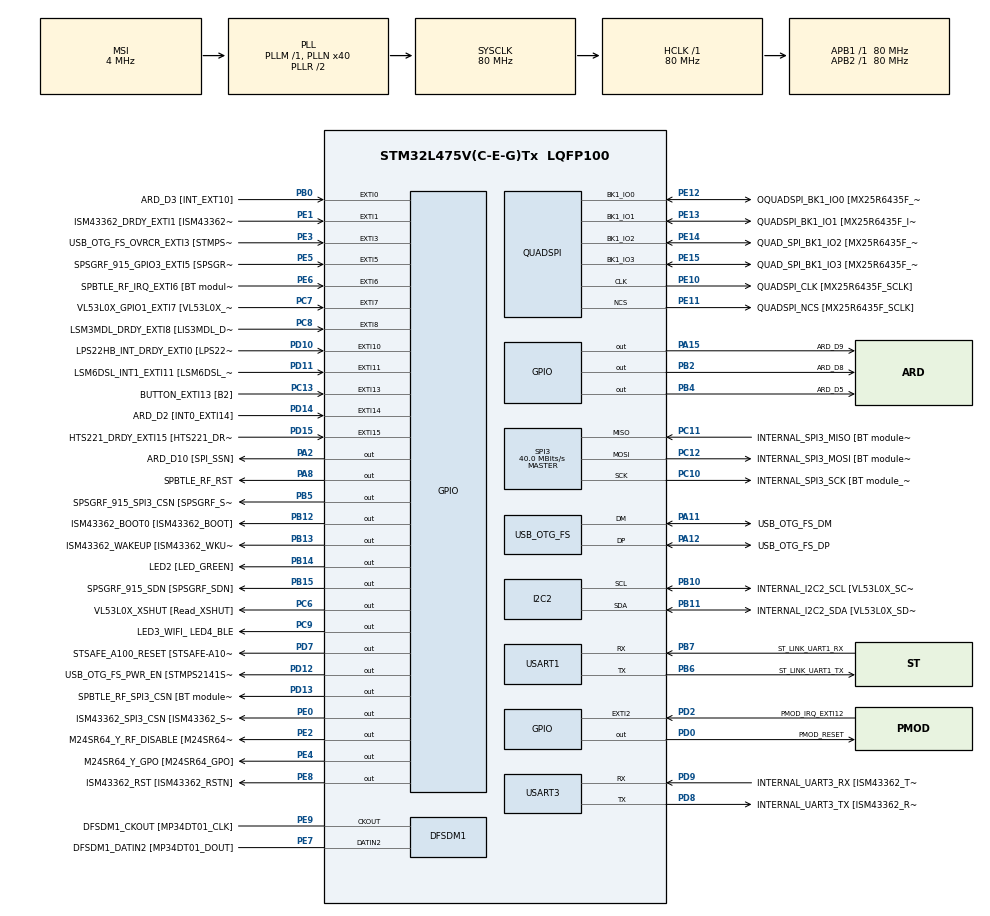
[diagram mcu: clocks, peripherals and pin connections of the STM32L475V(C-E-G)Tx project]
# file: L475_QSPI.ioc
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Mcu.Family=STM32L4
Mcu.Name=STM32L475V(C-E-G)Tx
Mcu.Package=LQFP100
NVIC.EXTI15_10_IRQn=true\:0\:0\:false\:false\:true\:true
NVIC.EXTI9_5_IRQn=true\:0\:0\:false\:false\:true\:true
NVIC.PriorityGroup=NVIC_PRIORITYGROUP_4
PA0.GPIO_Label=ARD_D1 [UART4_TX]
PA0.Signal=UART4_TX
PA1.GPIO_Label=ARD_D0 [UART4_RX]
PA1.Signal=UART4_RX
PA10.GPIO_Label=USB_OTG_FS_ID
PA10.Signal=USB_OTG_FS_ID
PA11.GPIO_Label=USB_OTG_FS_DM
PA11.Mode=Device_Only
PA11.Signal=USB_OTG_FS_DM
PA12.GPIO_Label=USB_OTG_FS_DP
PA12.Mode=Device_Only
PA12.Signal=USB_OTG_FS_DP
PA13\ (JTMS-SWDIO).GPIO_Label=SYS_JTMS_SWDIO
PA13\ (JTMS-SWDIO).Mode=Serial_Wire
PA13\ (JTMS-SWDIO).Signal=SYS_JTMS-SWDIO
PA14\ (JTCK-SWCLK).GPIO_Label=SYS_JTCK_SWCLK
PA14\ (JTCK-SWCLK).Mode=Serial_Wire
PA14\ (JTCK-SWCLK).Signal=SYS_JTCK-SWCLK
PA15\ (JTDI).GPIO_Label=ARD_D9
PA15\ (JTDI).Signal=GPIO_Output
PA2.GPIO_Label=ARD_D10 [SPI_SSN]
PA2.Signal=GPIO_Output
PA3.GPIO_Label=ARD_D4
PA3.Signal=S_TIM2_CH4
PA4.GPIO_Label=ARD_D7
PA4.Signal=ADCx_IN9
PA5.GPIO_Label=ARD_D13 [SPI1_SCK]
PA5.Signal=SPI1_SCK
PA6.GPIO_Label=ARD_D12 [SPI1_MISO]
PA6.Signal=SPI1_MISO
PA7.GPIO_Label=ARD_D11 [SPI1_MOSI]
PA7.Signal=SPI1_MOSI
PA8.GPIO_Label=SPBTLE_RF_RST
PA8.Signal=GPIO_Output
PA9.GPIO_Label=USB_OTG_FS_VBUS [STMPS2141STR_OUT]
PA9.Signal=USB_OTG_FS_VBUS
PB0.GPIO_Label=ARD_D3 [INT_EXT10]
PB0.Signal=GPXTI0
PB1.GPIO_Label=ARD_D6 [ADC1_IN6]
PB1.Signal=ADCx_IN16
PB10.GPIO_Label=INTERNAL_I2C2_SCL [VL53L0X_SCL]
PB10.Mode=I2C
PB10.Signal=I2C2_SCL
PB11.GPIO_Label=INTERNAL_I2C2_SDA [VL53L0X_SDA]
PB11.Mode=I2C
PB11.Signal=I2C2_SDA
PB12.GPIO_Label=ISM43362_BOOT0 [ISM43362_BOOT]
PB12.Signal=GPIO_Output
PB13.GPIO_Label=ISM43362_WAKEUP [ISM43362_WKUP]
PB13.Signal=GPIO_Output
PB14.GPIO_Label=LED2 [LED_GREEN]
PB14.Signal=GPIO_Output
PB15.GPIO_Label=SPSGRF_915_SDN [SPSGRF_SDN]
PB15.Signal=GPIO_Output
PB2.GPIO_Label=ARD_D8
PB2.Signal=GPIO_Output
PB3\ (JTDO-TRACESWO).GPIO_Label=SYS_JTD0_SWO
PB3\ (JTDO-TRACESWO).Signal=SYS_JTDO-SWO
PB4\ (NJTRST).GPIO_Label=ARD_D5
PB4\ (NJTRST).Signal=GPIO_Output
PB5.GPIO_Label=SPSGRF_915_SPI3_CSN [SPSGRF_SPI_CS]
PB5.Signal=GPIO_Output
PB6.GPIO_Label=ST_LINK_UART1_TX
PB6.Mode=Asynchronous
PB6.Signal=USART1_TX
PB7.GPIO_Label=ST_LINK_UART1_RX
PB7.Mode=Asynchronous
PB7.Signal=USART1_RX
PB8.GPIO_Label=ARD_D15 [I2C1_SCL]
PB8.Signal=I2C1_SCL
PB9.GPIO_Label=ARD_D14 [I2C1_SDA]
PB9.Signal=I2C1_SDA
PC0.GPIO_Label=ARD_A5 [ADC]
PC0.Signal=ADCx_IN1
PC1.GPIO_Label=ARD_A4 [ADC]
PC1.Signal=ADCx_IN2
PC10.GPIO_Label=INTERNAL_SPI3_SCK [BT module_SPI_SCLK]
PC10.Mode=Full_Duplex_Master
PC10.Signal=SPI3_SCK
PC11.GPIO_Label=INTERNAL_SPI3_MISO [BT module_SPI_MISO]
PC11.Mode=Full_Duplex_Master
PC11.Signal=SPI3_MISO
PC12.GPIO_Label=INTERNAL_SPI3_MOSI [BT module_SPI_MOSI]
PC12.Mode=Full_Duplex_Master
PC12.Signal=SPI3_MOSI
PC13.GPIO_Label=BUTTON_EXTI13 [B2]
PC13.GPIO_ModeDefaultEXTI=GPIO_MODE_IT_FALLING
PC13.Signal=GPXTI13
PC14-OSC32_IN\ (PC14).Mode=LSE-External-Oscillator
PC14-OSC32_IN\ (PC14).Signal=RCC_OSC32_IN
PC15-OSC32_OUT\ (PC15).Mode=LSE-External-Oscillator
PC15-OSC32_OUT\ (PC15).Signal=RCC_OSC32_OUT
PC2.GPIO_Label=ARD_A3 [ADC]
PC2.Signal=ADCx_IN3
PC3.GPIO_Label=ARD_A2 [ADC]
PC3.Signal=ADCx_IN4
PC4.GPIO_Label=ARD_A1 [ADC]
PC4.Signal=ADCx_IN13
PC5.GPIO_Label=ARD_A0 [ADC]
PC5.Signal=ADCx_IN14
PC6.GPIO_Label=VL53L0X_XSHUT [Read_XSHUT]
PC6.Signal=GPIO_Output
PC7.GPIO_Label=VL53L0X_GPIO1_EXTI7 [VL53L0X_GPIO1]
PC7.Signal=GPXTI7
PC8.GPIO_Label=LSM3MDL_DRDY_EXTI8 [LIS3MDL_DRDY]
PC8.Signal=GPXTI8
PC9.GPIO_Label=LED3_WIFI_ LED4_BLE
PC9.Signal=GPIO_Output
PD0.GPIO_Label=PMOD_RESET
PD0.Signal=GPIO_Output
PD1.GPIO_Label=PMOD_SPI2_SCK
PD1.Signal=SPI2_SCK
PD10.GPIO_Label=LPS22HB_INT_DRDY_EXTI0 [LPS22HB_INT_DRDY] 
PD10.Signal=GPXTI10
PD11.GPIO_Label=LSM6DSL_INT1_EXTI11 [LSM6DSL_INT1]
PD11.Signal=GPXTI11
PD12.GPIO_Label=USB_OTG_FS_PWR_EN [STMPS2141STR_EN]
PD12.Signal=GPIO_Output
PD13.GPIO_Label=SPBTLE_RF_SPI3_CSN [BT module_SPI_CS]
PD13.Signal=GPIO_Output
PD14.GPIO_Label=ARD_D2 [INT0_EXTI14]
PD14.Signal=GPXTI14
PD15.GPIO_Label=HTS221_DRDY_EXTI15 [HTS221_DRDY]
PD15.Signal=GPXTI15
PD2.GPIO_Label=PMOD_IRQ_EXTI12
PD2.Signal=GPXTI2
PD3.GPIO_Label=PMOD_UART2_CTS
PD3.Signal=USART2_CTS
PD4.GPIO_Label=PMOD_UART2_RTS
PD4.Signal=USART2_RTS
PD5.GPIO_Label=PMOD_UART2_TX
PD5.Signal=USART2_TX
PD6.GPIO_Label=PMOD_UART2_RX
PD6.Signal=USART2_RX
PD7.GPIO_Label=STSAFE_A100_RESET [STSAFE-A100_RESET]
PD7.Signal=GPIO_Output
PD8.GPIO_Label=INTERNAL_UART3_TX [ISM43362_RX]
PD8.Mode=Asynchronous
PD8.Signal=USART3_TX
PD9.GPIO_Label=INTERNAL_UART3_RX [ISM43362_TX]
PD9.Mode=Asynchronous
PD9.Signal=USART3_RX
PE0.GPIO_Label=ISM43362_SPI3_CSN [ISM43362_SSN]
PE0.Signal=GPIO_Output
PE1.GPIO_Label=ISM43362_DRDY_EXTI1 [ISM43362_DATARDY]
PE1.Signal=GPXTI1
PE10.GPIO_Label=QUADSPI_CLK [MX25R6435F_SCLK]
PE10.Mode=Single Bank
PE10.Signal=QUADSPI_CLK
PE11.GPIO_Label=QUADSPI_NCS [MX25R6435F_SCLK]
PE11.Mode=Single Bank
PE11.Signal=QUADSPI_NCS
PE12.GPIO_Label=OQUADSPI_BK1_IO0 [MX25R6435F_IO0]
PE12.Mode=Single Bank
PE12.Signal=QUADSPI_BK1_IO0
PE13.GPIO_Label=QUADSPI_BK1_IO1 [MX25R6435F_IO1]
PE13.Mode=Single Bank
PE13.Signal=QUADSPI_BK1_IO1
PE14.GPIO_Label=QUAD_SPI_BK1_IO2 [MX25R6435F_IO2]
PE14.Mode=Single Bank
PE14.Signal=QUADSPI_BK1_IO2
PE15.GPIO_Label=QUAD_SPI_BK1_IO3 [MX25R6435F_IO3]
PE15.Mode=Single Bank
PE15.Signal=QUADSPI_BK1_IO3
PE2.GPIO_Label=M24SR64_Y_RF_DISABLE [M24SR64_RFDIS]
PE2.Signal=GPIO_Output
PE3.GPIO_Label=USB_OTG_FS_OVRCR_EXTI3 [STMPS2141STR_FAULT]
PE3.Signal=GPXTI3
PE4.GPIO_Label=M24SR64_Y_GPO [M24SR64_GPO]
PE4.Signal=GPIO_Output
PE5.GPIO_Label=SPSGRF_915_GPIO3_EXTI5 [SPSGRF_GPIO_3]
PE5.Signal=GPXTI5
PE6.GPIO_Label=SPBTLE_RF_IRQ_EXTI6 [BT module_SPI_IRQ]
PE6.Signal=GPXTI6
PE7.GPIO_Label=DFSDM1_DATIN2 [MP34DT01_DOUT]
PE7.Signal=S_DATAIN2DFSDM1
PE8.GPIO_Label=ISM43362_RST [ISM43362_RSTN]
PE8.Signal=GPIO_Output
PE9.GPIO_Label=DFSDM1_CKOUT [MP34DT01_CLK]
PE9.Signal=S_CKOUTDFSDM1
ProjectManager.HeapSize=0x200
ProjectManager.StackSize=0x400
ProjectManager.TargetToolchain=SW4STM32
RCC.ADCFreq_Value=48000000
RCC.AHBFreq_Value=80000000
RCC.APB1Freq_Value=80000000
RCC.APB1TimFreq_Value=80000000
RCC.APB2Freq_Value=80000000
RCC.APB2TimFreq_Value=80000000
RCC.CortexFreq_Value=80000000
RCC.HCLKFreq_Value=80000000
RCC.HSE_VALUE=8000000
RCC.HSI_VALUE=16000000
RCC.MSI_VALUE=4000000
RCC.PLLN=40
RCC.PLLSAI1N=24
RCC.SYSCLKFreq_VALUE=80000000
RCC.SYSCLKSource=RCC_SYSCLKSOURCE_PLLCLK
RCC.USBFreq_Value=48000000
RCC.VCOOutputFreq_Value=160000000
SH.ADCx_IN1.0=ADC1_IN1
SH.ADCx_IN13.0=ADC1_IN13
SH.ADCx_IN14.0=ADC1_IN14
SH.ADCx_IN16.0=ADC1_IN16
SH.ADCx_IN2.0=ADC1_IN2
SH.ADCx_IN3.0=ADC1_IN3
SH.ADCx_IN4.0=ADC1_IN4
SH.ADCx_IN9.0=ADC1_IN9
SH.S_CKOUTDFSDM1.0=DFSDM1_CKOUT,CKOUT
SH.S_CKOUTDFSDM1.1=DFSDM1_CKOUT,PDM_SPI_Input_from_ch12_and_Internal_Clock
SH.S_DATAIN2DFSDM1.0=DFSDM1_DATIN2,PDM_SPI_Input_from_ch12_and_Internal_Clock
SH.S_TIM2_CH4.0=TIM2_CH4
SPI3.CalculateBaudRate=40.0 MBits/s
SPI3.Direction=SPI_DIRECTION_2LINES
SPI3.Mode=SPI_MODE_MASTER
SPI3.VirtualType=VM_MASTER
USART1.VirtualMode-Asynchronous=VM_ASYNC
USART1.WordLength=WORDLENGTH_8B
USART3.VirtualMode-Asynchronous=VM_ASYNC
USB_OTG_FS.VirtualMode=Device_Only
board=B-L475E-IOT01A

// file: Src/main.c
/**
  ******************************************************************************
  * @file           : main.c
  * @brief          : Main program body
  ******************************************************************************
  ** This notice applies to any and all portions of this file
  * that are not between comment pairs USER CODE BEGIN and
  * USER CODE END. Other portions of this file, whether
  * inserted by the user or by software development tools
  * are owned by their respective copyright owners.
  *
  * COPYRIGHT(c) 2018 STMicroelectronics
  *
  * Redistribution and use in source and binary forms, with or without modification,
  * are permitted provided that the following conditions are met:
  *   1. Redistributions of source code must retain the above copyright notice,
  *      this list of conditions and the following disclaimer.
  *   2. Redistributions in binary form must reproduce the above copyright notice,
  *      this list of conditions and the following disclaimer in the documentation
  *      and/or other materials provided with the distribution.
  *   3. Neither the name of STMicroelectronics nor the names of its contributors
  *      may be used to endorse or promote products derived from this software
  *      without specific prior written permission.
  *
  * THIS SOFTWARE IS PROVIDED BY THE COPYRIGHT HOLDERS AND CONTRIBUTORS "AS IS"
  * AND ANY EXPRESS OR IMPLIED WARRANTIES, INCLUDING, BUT NOT LIMITED TO, THE
  * IMPLIED WARRANTIES OF MERCHANTABILITY AND FITNESS FOR A PARTICULAR PURPOSE ARE
  * DISCLAIMED. IN NO EVENT SHALL THE COPYRIGHT HOLDER OR CONTRIBUTORS BE LIABLE
  * FOR ANY DIRECT, INDIRECT, INCIDENTAL, SPECIAL, EXEMPLARY, OR CONSEQUENTIAL
  * DAMAGES (INCLUDING, BUT NOT LIMITED TO, PROCUREMENT OF SUBSTITUTE GOODS OR
  * SERVICES; LOSS OF USE, DATA, OR PROFITS; OR BUSINESS INTERRUPTION) HOWEVER
  * CAUSED AND ON ANY THEORY OF LIABILITY, WHETHER IN CONTRACT, STRICT LIABILITY,
  * OR TORT (INCLUDING NEGLIGENCE OR OTHERWISE) ARISING IN ANY WAY OUT OF THE USE
  * OF THIS SOFTWARE, EVEN IF ADVISED OF THE POSSIBILITY OF SUCH DAMAGE.
  *
  ******************************************************************************
  */
#include "main.h"
#include "stm32l4xx_hal.h"
#include "dfsdm.h"
#include "i2c.h"
#include "quadspi.h"
#include "spi.h"
#include "usart.h"
#include "usb_otg.h"
#include "gpio.h"

/* USER CODE BEGIN PV */
/* Private typedef -----------------------------------------------------------*/
/* Private define ------------------------------------------------------------*/
#define PUTCHAR_PROTOTYPE int __io_putchar(int ch)
#define GETCHAR_PROTOTYPE int __io_getchar(void)

/* Private macro -------------------------------------------------------------*/
/* Private variables ---------------------------------------------------------*/

/* USER CODE END PV */

void SystemClock_Config(void);

/* USER CODE BEGIN PFP */
/* Private function prototypes -----------------------------------------------*/

/* USER CODE END PFP */

int main(void)
{

  /* MCU Configuration----------------------------------------------------------*/

  /* Reset of all peripherals, Initializes the Flash interface and the Systick. */
  HAL_Init();

  /* Configure the system clock */
  SystemClock_Config();

  /* Initialize all configured peripherals */
  MX_GPIO_Init();
  MX_DFSDM1_Init();
  MX_I2C2_Init();
  MX_QUADSPI_Init();
  MX_SPI3_Init();
  MX_USART1_UART_Init();
  MX_USART3_UART_Init();
  MX_USB_OTG_FS_PCD_Init();

  /* Infinite loop */
  while (1)
  {

  /* USER CODE BEGIN 3 */
	    QSPI_demo();
	    QSPI_MemoryMapped_demo();

  }
  /* USER CODE END 3 */

}

void SystemClock_Config(void)
{

  RCC_OscInitTypeDef RCC_OscInitStruct;
  RCC_ClkInitTypeDef RCC_ClkInitStruct;
  RCC_PeriphCLKInitTypeDef PeriphClkInit;

    /**Configure LSE Drive Capability
    */
  __HAL_RCC_LSEDRIVE_CONFIG(RCC_LSEDRIVE_LOW);

    /**Initializes the CPU, AHB and APB busses clocks
    */
  RCC_OscInitStruct.OscillatorType = RCC_OSCILLATORTYPE_LSE|RCC_OSCILLATORTYPE_MSI;
  RCC_OscInitStruct.LSEState = RCC_LSE_ON;
  RCC_OscInitStruct.MSIState = RCC_MSI_ON;
  RCC_OscInitStruct.MSICalibrationValue = 0;
  RCC_OscInitStruct.MSIClockRange = RCC_MSIRANGE_6;
  RCC_OscInitStruct.PLL.PLLState = RCC_PLL_ON;
  RCC_OscInitStruct.PLL.PLLSource = RCC_PLLSOURCE_MSI;
  RCC_OscInitStruct.PLL.PLLM = 1;
  RCC_OscInitStruct.PLL.PLLN = 40;
  RCC_OscInitStruct.PLL.PLLP = RCC_PLLP_DIV7;
  RCC_OscInitStruct.PLL.PLLQ = RCC_PLLQ_DIV2;
  RCC_OscInitStruct.PLL.PLLR = RCC_PLLR_DIV2;
  if (HAL_RCC_OscConfig(&RCC_OscInitStruct) != HAL_OK)
  {
    _Error_Handler(__FILE__, __LINE__);
  }

    /**Initializes the CPU, AHB and APB busses clocks
    */
  RCC_ClkInitStruct.ClockType = RCC_CLOCKTYPE_HCLK|RCC_CLOCKTYPE_SYSCLK
                              |RCC_CLOCKTYPE_PCLK1|RCC_CLOCKTYPE_PCLK2;
  RCC_ClkInitStruct.SYSCLKSource = RCC_SYSCLKSOURCE_PLLCLK;
  RCC_ClkInitStruct.AHBCLKDivider = RCC_SYSCLK_DIV1;
  RCC_ClkInitStruct.APB1CLKDivider = RCC_HCLK_DIV1;
  RCC_ClkInitStruct.APB2CLKDivider = RCC_HCLK_DIV1;

  if (HAL_RCC_ClockConfig(&RCC_ClkInitStruct, FLASH_LATENCY_4) != HAL_OK)
  {
    _Error_Handler(__FILE__, __LINE__);
  }

  PeriphClkInit.PeriphClockSelection = RCC_PERIPHCLK_USART1|RCC_PERIPHCLK_USART3
                              |RCC_PERIPHCLK_I2C2|RCC_PERIPHCLK_DFSDM1
                              |RCC_PERIPHCLK_USB;
  PeriphClkInit.Usart1ClockSelection = RCC_USART1CLKSOURCE_PCLK2;
  PeriphClkInit.Usart3ClockSelection = RCC_USART3CLKSOURCE_PCLK1;
  PeriphClkInit.I2c2ClockSelection = RCC_I2C2CLKSOURCE_PCLK1;
  PeriphClkInit.Dfsdm1ClockSelection = RCC_DFSDM1CLKSOURCE_PCLK;
  PeriphClkInit.UsbClockSelection = RCC_USBCLKSOURCE_PLLSAI1;
  PeriphClkInit.PLLSAI1.PLLSAI1Source = RCC_PLLSOURCE_MSI;
  PeriphClkInit.PLLSAI1.PLLSAI1M = 1;
  PeriphClkInit.PLLSAI1.PLLSAI1N = 24;
  PeriphClkInit.PLLSAI1.PLLSAI1P = RCC_PLLP_DIV7;
  PeriphClkInit.PLLSAI1.PLLSAI1Q = RCC_PLLQ_DIV2;
  PeriphClkInit.PLLSAI1.PLLSAI1R = RCC_PLLR_DIV2;
  PeriphClkInit.PLLSAI1.PLLSAI1ClockOut = RCC_PLLSAI1_48M2CLK;
  if (HAL_RCCEx_PeriphCLKConfig(&PeriphClkInit) != HAL_OK)
  {
    _Error_Handler(__FILE__, __LINE__);
  }

    /**Configure the main internal regulator output voltage
    */
  if (HAL_PWREx_ControlVoltageScaling(PWR_REGULATOR_VOLTAGE_SCALE1) != HAL_OK)
  {
    _Error_Handler(__FILE__, __LINE__);
  }

    /**Configure the Systick interrupt time
    */
  HAL_SYSTICK_Config(HAL_RCC_GetHCLKFreq()/1000);

    /**Configure the Systick
    */
  HAL_SYSTICK_CLKSourceConfig(SYSTICK_CLKSOURCE_HCLK);

    /**Enable MSI Auto calibration
    */
  HAL_RCCEx_EnableMSIPLLMode();

  /* SysTick_IRQn interrupt configuration */
  HAL_NVIC_SetPriority(SysTick_IRQn, 0, 0);
}

/* USER CODE BEGIN 4 */

/**
 * @brief  Gets numeric values from the Hyperterminal.
 * @param  Maximun value allowed (value)
 * @retval The character received
 */
uint32_t Serial_Scanf(uint32_t value)
{
	uint16_t tmp = 0;

	tmp = getchar();

	if (tmp > value)
	{
		printf("\n\r  !!! Please enter valid number between 0 and %lu \n", value);
		return 0xFF;
	}
	return tmp;
}

/**
 * @brief Retargets the C library msg_info function to the USART.
 * @param None
 * @retval None
 */
PUTCHAR_PROTOTYPE
{
	/* Place your implementation of fputc here */
	/* e.g. write a character to the serial port and Loop until the end of transmission */
	while (HAL_OK != HAL_UART_Transmit(&huart1, (uint8_t *) &ch, 1, 30000))
	{
		;
	}
	return ch;
}

/**
 * @brief Retargets the C library scanf function to the USART.
 * @param None
 * @retval None
 */
GETCHAR_PROTOTYPE
{
	/* Place your implementation of fgetc here */
	/* e.g. readwrite a character to the USART2 and Loop until the end of transmission */
	uint8_t ch = 0;
	while (HAL_OK != HAL_UART_Receive(&huart1, (uint8_t *) &ch, 1, 30000))
	{
		;
	}
	return ch;
}

/* USER CODE END 4 */

void _Error_Handler(char *file, int line)
{
  while(1)
  {
  }
}

/************************ (C) COPYRIGHT STMicroelectronics *****END OF FILE****/
